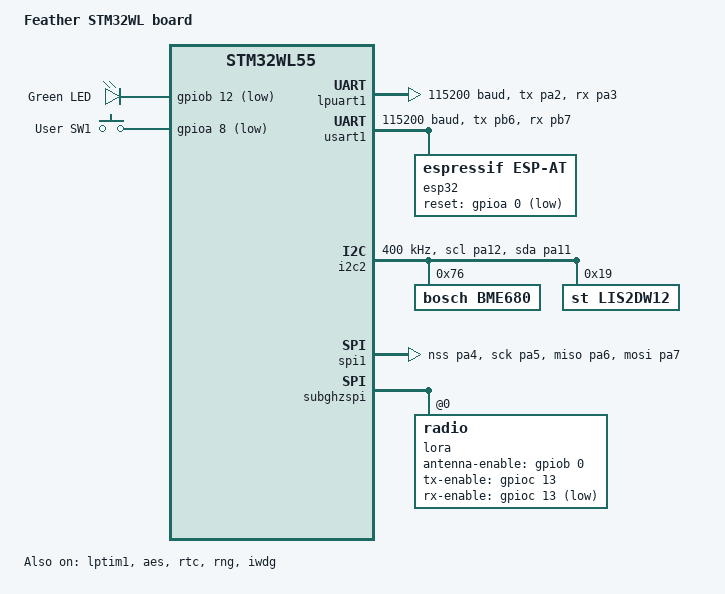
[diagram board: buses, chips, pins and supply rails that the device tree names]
/*
 * Copyright (c) 2021 PureEngineering, LLC
 *
 */

/dts-v1/;
#include <st/wl/stm32wl55Xc.dtsi>
#include <st/wl/stm32wl55ccux-pinctrl.dtsi>
#include <zephyr/dt-bindings/input/input-event-codes.h>
#include <zephyr/dt-bindings/led/led.h>

/ {
	model = "Feather STM32WL board";
	compatible = "st,stm32wl55-nucleo";

	chosen {
		zephyr,console = &lpuart1;
		zephyr,shell-uart = &lpuart1;
		zephyr,sram = &sram0;
		zephyr,flash = &flash0;
		zephyr,code-partition = &slot0_partition;
	};

	aliases {
		led0 = &led0;
		mcuboot-button0 = &button1;
		mcuboot-led0 = &led0;
		lora0 = &lora;
		uart0 = &usart1;
	};

	leds {
		compatible = "gpio-leds";
		led0: led_0 {
			gpios = <&gpiob 12 GPIO_ACTIVE_LOW>;
			label = "Green LED";
		};
	};

	buttons {
		compatible = "gpio-keys";
		button1: button_1 {
			label = "User SW1";
			gpios = <&gpioa 8 (GPIO_PULL_UP | GPIO_ACTIVE_LOW)>;
			zephyr,code = <INPUT_KEY_0>;
		};
	};
};

&cpu0 {
	cpu-power-states = <&stop0 &stop1 &stop2>;
};

&clk_lsi {
	status = "okay";
};

stm32_lp_tick_source: &lptim1 {
	clocks = <&rcc STM32_CLOCK_BUS_APB1 0x80000000>,
			 <&rcc STM32_SRC_LSI LPTIM1_SEL(1)>;
	status = "okay";
};

&clk_lse {
	status = "okay";
};

&clk_hsi {
	status = "okay";
};

&pll {
	div-m = <1>;
	mul-n = <6>;
	div-r = <2>;
	div-q = <2>;
	clocks = <&clk_hsi>;
	status = "okay";
};

&rcc {
	clocks = <&pll>;
	clock-frequency = <DT_FREQ_M(48)>;
	cpu1-prescaler = <1>;
	cpu2-prescaler = <1>;
	ahb3-prescaler = <1>;
	apb1-prescaler = <1>;
	apb2-prescaler = <1>;
};

&lpuart1 {
	pinctrl-0 = <&lpuart1_tx_pa2 &lpuart1_rx_pa3>;
	pinctrl-names = "default";
	current-speed = <115200>;
	status = "okay";
};

&usart1 {
	pinctrl-0 = <&usart1_tx_pb6 &usart1_rx_pb7>;
	pinctrl-names = "default";
	current-speed = <115200>;
	status = "okay";

    esp32 {
        compatible = "espressif,esp-at";
        reset-gpios = <&gpioa 0 GPIO_ACTIVE_LOW>;
        status = "okay";
    };
};

&i2c2 {
	pinctrl-0 = <&i2c2_scl_pa12 &i2c2_sda_pa11>;
	pinctrl-names = "default";
	status = "okay";
	clock-frequency = <I2C_BITRATE_FAST>;

	bme680: bme680@76 {
		compatible = "bosch,bme680";
		reg = <0x76>;
		label = "BME680";
		status = "okay";
	};
	lis2dw12: lis2dw12@19 {
		compatible = "st,lis2dw12";
		reg = <0x19>;
		label = "LIS2DW12";
		status = "okay";
	};

};

&spi1 {
	pinctrl-0 = <&spi1_nss_pa4 &spi1_sck_pa5
		     &spi1_miso_pa6 &spi1_mosi_pa7>;
	pinctrl-names = "default";
	status = "okay";
};

// &adc1 {
// 	status = "okay";
// };

// &die_temp {
// 	status = "okay";
// };

&aes {
	status = "okay";
};

&rtc {
	clocks = <&rcc STM32_CLOCK_BUS_APB1 0x00000400>,
			 <&rcc STM32_SRC_LSE RTC_SEL(1)>;
	status = "okay";
};

&rng {
	status = "okay";
};

&iwdg {
	status = "okay";
};

&subghzspi {
	status = "okay";
	lora: radio@0 {
		status = "okay";
		antenna-enable-gpios = <&gpiob 0 GPIO_ACTIVE_HIGH>;
		tx-enable-gpios = <&gpioc 13 GPIO_ACTIVE_HIGH>;
		rx-enable-gpios = <&gpioc 13 GPIO_ACTIVE_LOW>;
		power-amplifier-output = "rfo-hp";
		rfo-lp-max-power = <14>;
		rfo-hp-max-power = <22>;
		// dio3-tcxo-voltage = <SX126X_DIO3_TCXO_1V7>;
		// tcxo-power-startup-delay-ms = <5>;
	};
};

&flash0 {
	/*
	 * For more information, see:
	 * http://docs.zephyrproject.org/latest/guides/dts/index.html#flash-partitions
	 */
	partitions {
		compatible = "fixed-partitions";
		#address-cells = <1>;
		#size-cells = <1>;

		/* Reserve 64kB for the bootloader */
		boot_partition: partition@0 {
			label = "mcuboot";
			reg = <0x00000000 DT_SIZE_K(48)>;
		};

		slot0_partition: partition@c000 {
			label = "image-0";
			reg = <0x0000C000 DT_SIZE_K(96)>;
		};

		slot1_partition: partition@24000 {
			label = "image-1";
			reg = <0x00024000 DT_SIZE_K(96)>;
		};

		storage_partition: partition@3C000 {
			label = "storage";
			reg = <0x0003C000 DT_SIZE_K(16)>;
		};
	};
};

